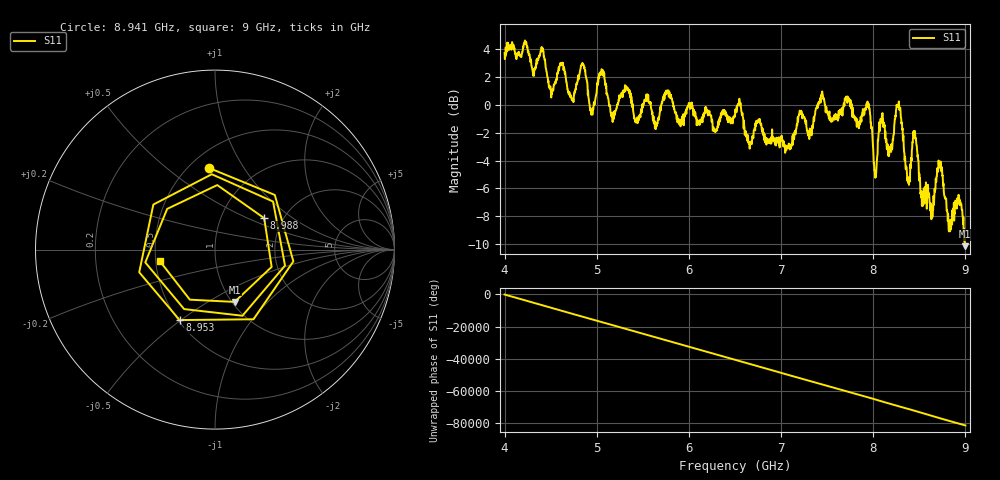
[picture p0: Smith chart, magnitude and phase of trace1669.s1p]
! Created with skrf 1.8.0 (http://scikit-rf.org).
# Hz S RI R 50.0
!freq ReS11 ImS11
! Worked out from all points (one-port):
!   1601 points, 4 GHz to 9 GHz, reference 50 ohm
!   lowest |S11| = -10.1 dB at 8.994 GHz (marker M1), VSWR 1.90, Z = 51.4 - j33.2 ohm
!   |S11| at or under -10 dB: 8.993193 GHz to end of sweep
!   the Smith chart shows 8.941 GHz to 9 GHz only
!   S11 on the Smith chart (normalised r, x): 8.941 GHz: 0.62, +0.71; 8.953 GHz: 0.51, -0.49; 8.988 GHz: 1.60, +0.63; 9 GHz: 0.53, -0.08
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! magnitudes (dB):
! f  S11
! 4 GHz  3.7
! 4.625 GHz  2.9
! 4.731 GHz  0.3
! 4.853 GHz  2.9
! 4.941 GHz  -0.7
! 5.05 GHz  2.3
! 5.172 GHz  -1.2
! 5.25 GHz  0.5
! 5.875 GHz  -1.3
! 6.5 GHz  -0.9
! 7.125 GHz  -2.2
! 7.75 GHz  -0.1
! 7.944 GHz  0.0
! 8.022 GHz  -5.2
! 8.081 GHz  -1.0
! 8.181 GHz  -3.0
! 8.272 GHz  -0.2
! 8.375 GHz  -5.2
! 8.45 GHz  -2.3
! 8.538 GHz  -7.3
! 8.638 GHz  -7.2
! 8.719 GHz  -4.5
! 8.831 GHz  -8.3
! 8.941 GHz  -6.8
! 8.953 GHz  -7.1
! 8.988 GHz  -9.8
! 8.994 GHz  -10.1
! 9 GHz  -10.1
